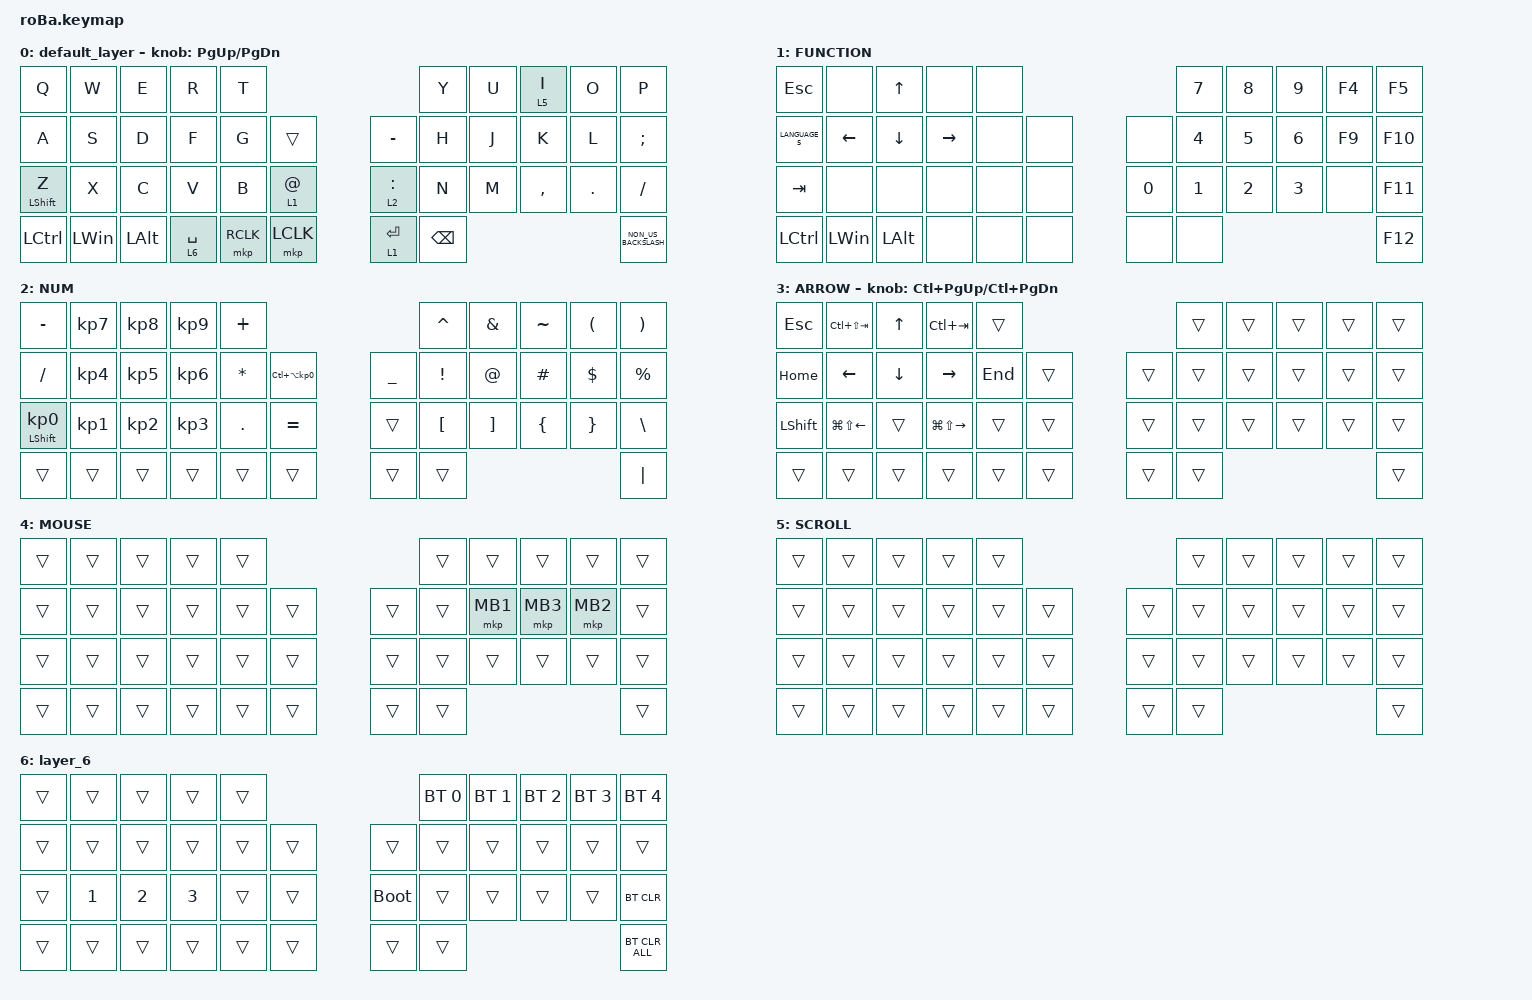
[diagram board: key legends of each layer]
#include <behaviors.dtsi>
#include <dt-bindings/zmk/bt.h>
#include <dt-bindings/zmk/keys.h>
#include <dt-bindings/zmk/pointing.h>

#define MOUSE 4
#define SCROLL 5
#define NUM 6

&mt {
    flavor = "balanced";
    quick-tap-ms = <0>;
};

/ {
    combos {
        compatible = "zmk,combos";

        tab {
            bindings = <&kp TAB>;
            key-positions = <11 12>;
        };

        shift_tab {
            bindings = <&kp LS(TAB)>;
            key-positions = <12 13>;
        };

        muhennkann {
            bindings = <&to_layer_0 INT_MUHENKAN>;
            key-positions = <11 10>;
        };

        double_quotation {
            bindings = <&kp DOUBLE_QUOTES>;
            key-positions = <20 21>;
        };

        eq {
            bindings = <&kp EQUAL>;
            key-positions = <24 25>;
        };
    };

    macros {
        to_layer_0: to_layer_0 {
            compatible = "zmk,behavior-macro-one-param";
            #binding-cells = <1>;
            bindings = <&to 0 &macro_param_1to1 &kp MACRO_PLACEHOLDER>;
            label = "TO_LAYER_0";
        };
    };

    behaviors {
        lt_to_layer_0: lt_to_layer_0 {
            compatible = "zmk,behavior-hold-tap";
            label = "LAYER_TAP_TO_0";
            bindings = <&mo>, <&to_layer_0>;

            #binding-cells = <2>;
            tapping-term-ms = <200>;
        };
    };

    keymap {
        compatible = "zmk,keymap";

        default_layer {
            bindings = <
&kp Q             &kp W         &kp E         &kp R                   &kp T                                                 &kp Y          &kp U  &lt 5 I    &kp O    &kp P
&kp A             &kp S         &kp D         &kp F                   &kp G      &trans                        &kp MINUS    &kp H          &kp J  &kp K      &kp L    &kp SEMICOLON
&mt LEFT_SHIFT Z  &kp X         &kp C         &kp V                   &kp B      &lt_to_layer_0 1 AT_SIGN      &lt 2 COLON  &kp N          &kp M  &kp COMMA  &kp DOT  &kp SLASH
&kp LCTRL         &kp LEFT_WIN  &kp LEFT_ALT  &lt_to_layer_0 6 SPACE  &mkp RCLK  &mkp LCLK                     &lt 1 ENTER  &kp BACKSPACE                             &kp NON_US_BACKSLASH
            >;

            sensor-bindings = <&inc_dec_kp PG_UP PAGE_DOWN>;
        };

        FUNCTION {
            bindings = <
&kp ESC           &none         &kp UP        &none      &none                           &kp NUMBER_7  &kp NUMBER_8  &kp NUMBER_9  &kp F4  &kp F5
&kp LANGUAGE_5    &kp LEFT      &kp DOWN      &kp RIGHT  &none  &none      &none         &kp NUMBER_4  &kp NUMBER_5  &kp NUMBER_6  &kp F9  &kp F10
&kp TAB           &none         &none         &none      &none  &none      &kp NUMBER_0  &kp NUMBER_1  &kp NUMBER_2  &kp NUMBER_3  &none   &kp F11
&kp LEFT_CONTROL  &kp LEFT_WIN  &kp LEFT_ALT  &none      &none  &none      &none         &none                                             &kp F12
            >;
        };

        NUM {
            bindings = <
&kp MINUS                   &kp KP_NUMBER_7  &kp KP_NUMBER_8  &kp KP_NUMBER_9  &kp PLUS                                                   &kp CARET         &kp AMPERSAND      &kp TILDE       &kp LEFT_PARENTHESIS  &kp RIGHT_PARENTHESIS
&kp SLASH                   &kp KP_NUMBER_4  &kp KP_NUMBER_5  &kp KP_NUMBER_6  &kp ASTERISK  &kp LC(LA(KP_NUMBER_0))      &kp UNDERSCORE  &kp EXCLAMATION   &kp AT_SIGN        &kp HASH        &kp DOLLAR            &kp PERCENT
&mt LEFT_SHIFT KP_NUMBER_0  &kp KP_NUMBER_1  &kp KP_NUMBER_2  &kp KP_NUMBER_3  &kp PERIOD    &kp EQUAL                    &trans          &kp LEFT_BRACKET  &kp RIGHT_BRACKET  &kp LEFT_BRACE  &kp RIGHT_BRACE       &kp BACKSLASH
&trans                      &trans           &trans           &trans           &trans        &trans                       &trans          &trans                                                                     &kp PIPE
            >;
        };

        ARROW {
            bindings = <
&kp ESCAPE      &kp LC(LS(TAB))         &kp UP_ARROW    &kp LC(TAB)              &trans                       &trans  &trans  &trans  &trans  &trans
&kp HOME        &kp LEFT_ARROW          &kp DOWN_ARROW  &kp RIGHT_ARROW          &kp END  &trans      &trans  &trans  &trans  &trans  &trans  &trans
&kp LEFT_SHIFT  &kp LG(LS(LEFT_ARROW))  &trans          &kp LG(LS(RIGHT_ARROW))  &trans   &trans      &trans  &trans  &trans  &trans  &trans  &trans
&trans          &trans                  &trans          &trans                   &trans   &trans      &trans  &trans                          &trans
            >;

            sensor-bindings = <&inc_dec_kp LC(PAGE_UP) LC(PAGE_DOWN)>;
        };

        MOUSE {
            bindings = <
&trans  &trans  &trans  &trans  &trans                      &trans  &trans    &trans    &trans    &trans
&trans  &trans  &trans  &trans  &trans  &trans      &trans  &trans  &mkp MB1  &mkp MB3  &mkp MB2  &trans
&trans  &trans  &trans  &trans  &trans  &trans      &trans  &trans  &trans    &trans    &trans    &trans
&trans  &trans  &trans  &trans  &trans  &trans      &trans  &trans                                &trans
            >;
        };

        SCROLL {
            bindings = <
&trans  &trans  &trans  &trans  &trans                      &trans  &trans  &trans  &trans  &trans
&trans  &trans  &trans  &trans  &trans  &trans      &trans  &trans  &trans  &trans  &trans  &trans
&trans  &trans  &trans  &trans  &trans  &trans      &trans  &trans  &trans  &trans  &trans  &trans
&trans  &trans  &trans  &trans  &trans  &trans      &trans  &trans                          &trans
            >;
        };

        layer_6 {
            bindings = <
&trans  &trans        &trans        &trans        &trans                           &bt BT_SEL 0  &bt BT_SEL 1  &bt BT_SEL 2  &bt BT_SEL 3  &bt BT_SEL 4
&trans  &trans        &trans        &trans        &trans  &trans      &trans       &trans        &trans        &trans        &trans        &trans
&trans  &kp NUMBER_1  &kp NUMBER_2  &kp NUMBER_3  &trans  &trans      &bootloader  &trans        &trans        &trans        &trans        &bt BT_CLR
&trans  &trans        &trans        &trans        &trans  &trans      &trans       &trans                                                  &bt BT_CLR_ALL
            >;
        };
    };
};
